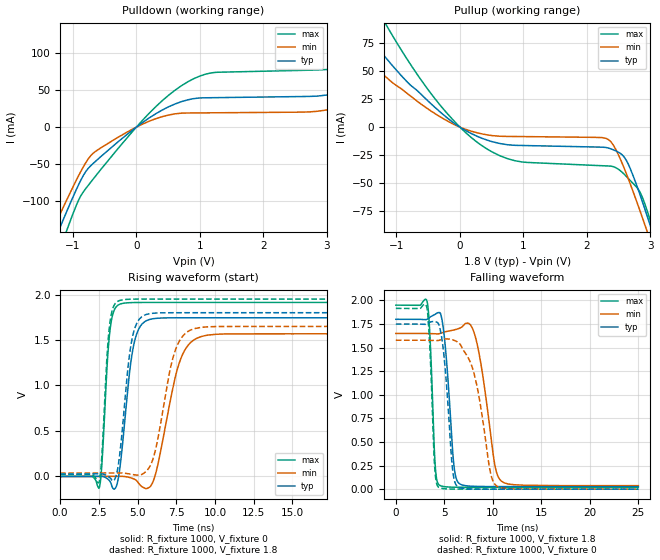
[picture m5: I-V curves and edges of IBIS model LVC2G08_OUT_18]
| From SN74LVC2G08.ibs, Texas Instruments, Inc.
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[Model]   LVC2G08_OUT_18
Model_type  Output
Vref =   0
Rref =   1000
Cref =   30p
Vmeas =   0.9
| variable   typ   min   max
C_comp   9.37pF   6.72pF   16.17pF
| C_pullup   8.04pF   6.72pF   8.54pF
| C_pulldown   10.70pF   6.73pF   16.17pF
[Temperature Range]   40   100   -40
| Ambient temperature   25   85   -40
[Voltage range]   1.8   1.65   1.95
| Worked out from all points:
|   slope of the pulldown table from 0 to 0.27 V, typ, clamps not added: 16.6 ohm
|   slope of the pullup table from 0 to 0.27 V, typ, clamps not added: 33 ohm
|   rising waveform, R_fixture 1000, V_fixture 0: 20-80 % time 670ps typ, 1.18ns min, 390ps max; typ from 0 V to 1.74 V
|   falling waveform, R_fixture 1000, V_fixture 1.8: 20-80 % time 716ps typ, 1.28ns min, 430ps max; typ from 1.8 V to 0.027 V
|   rising waveform, R_fixture 1000, V_fixture 1.8: 20-80 % time 637ps typ, 1.08ns min, 380ps max; typ from 0.027 V to 1.8 V
|   falling waveform, R_fixture 1000, V_fixture 0: 20-80 % time 748ps typ, 1.56ns min, 437ps max; typ from 1.75 V to 0 V
[Pulldown]
| LVC2G08_OUT_18
|   Voltage   I(typ)   I(min)   I(max)
-5.5V     -1.024A    -932.8mA   -1.173A
-1.44V    -185.2mA   -162.4mA   -222.4mA
-1.105V   -116mA     -100.2mA   -142mA
-645mV    -46.52mA   -32.98mA   -66.62mA
805mV     36.94mA    19.18mA    61.21mA
3.215V    47.58mA    27.05mA    81.88mA
4.145V    78.53mA    21.52mA    125.4mA
4.31V     68.9mA     21.59mA    136.1mA
4.47V     45.47mA    21.68mA    146.3mA
4.7V      44.48mA    21.82mA    139.5mA
5.01V     44.71mA    22mA       83.15mA
11V       50.72mA    25.33mA    93.05mA
[Pullup]
| LVC2G08_OUT_18
|   Voltage   I(typ)   I(min)   I(max)
-5.5V     480.5mA    377.4mA    671.8mA
-2.005V   126.2mA    94.48mA    183.1mA
-1.51V    86.76mA    63.87mA    127.4mA
-1.17V    62.28mA    45.16mA    92.41mA
-295mV    12.8mA     8.704mA    18.54mA
430mV     -11.66mA   -6.936mA   -19.66mA
2.34V     -18.76mA   -11.2mA    -34.79mA
2.625V    -30.23mA   -42.31mA   -44.38mA
2.93V     -76.38mA   -90.38mA   -71.68mA
3.03V     -93.86mA   -107.1mA   -89.69mA
3.115V    -109.1mA   -121.5mA   -106mA
11V       -1.709A    -1.61A     -1.886A
[Ramp]
| LVC2G08_OUT_18
| variable   typ   min   max
dV/dt_r   1.13/7.11E-10   1.02/1.25E-09   1.23/4.17E-10
dV/dt_f   1.11/7.57E-10   1.03/1.40E-09   1.20/4.56E-10
R_load = 1000
[Rising Waveform]
| LVC2G08_OUT_18
R_fixture =   1000
C_fixture =   0
L_fixture =   0
V_fixture =   0
V_fixture_min = 0
V_fixture_max = 0
|   Time   V(typ)   V(min)   V(max)
0s        112.7pV    7.663nV    2.84nV
2.535ns   1.95mV     28.25uV    -119.9mV
3.2ns     -49.59mV   1.248mV    1.576V
3.845ns   76.3mV     1.529mV    1.893V
4.695ns   1.395V     -22.84mV   1.911V
5.6ns     1.715V     -132.8mV   1.913V
6.205ns   1.738V     53.98mV    1.913V
7.68ns    1.744V     1.241V     1.913V
8.795ns   1.744V     1.517V     1.913V
24.99ns   1.744V     1.569V     1.913V
[Falling Waveform]
| LVC2G08_OUT_18
R_fixture =   1000
C_fixture =   0
L_fixture =   0
V_fixture =   1.8
V_fixture_min = 1.65
V_fixture_max = 1.95
|   Time   V(typ)   V(min)   V(max)
0s        1.8V       1.65V      1.95V
3.24ns    1.802V     1.649V     1.98V
4.05ns    1.853V     1.647V     264.6mV
4.485ns   1.871V     1.648V     43.21mV
5.085ns   1.528V     1.667V     25.78mV
5.995ns   246mV      1.687V     20.82mV
6.51ns    61.99mV    1.703V     20.19mV
8.195ns   29.75mV    1.615V     19.76mV
10.87ns   27.17mV    85.36mV    19.73mV
24.99ns   26.98mV    37.16mV    19.72mV
[Rising Waveform]
| LVC2G08_OUT_18
R_fixture =   1000
C_fixture =   0
L_fixture =   0
V_fixture =   1.8
V_fixture_min = 1.65
V_fixture_max = 1.95
|   Time   V(typ)   V(min)   V(max)
0s        26.95mV    37.1mV     19.71mV
2.515ns   28.74mV    37.1mV     -63.33mV
3.17ns    -7.939mV   38.19mV    1.626V
3.77ns    140.1mV    38.09mV    1.929V
4.59ns    1.461V     23.72mV    1.948V
5.43ns    1.772V     39.2mV     1.95V
6.12ns    1.796V     266.4mV    1.95V
7.38ns    1.8V       1.357V     1.95V
8.395ns   1.8V       1.607V     1.95V
24.99ns   1.8V       1.65V      1.95V
[Falling Waveform]
| LVC2G08_OUT_18
R_fixture =   1000
C_fixture =   0
L_fixture =   0
V_fixture =   0
V_fixture_min = 0
V_fixture_max = 0
|   Time   V(typ)   V(min)   V(max)
0s        1.749V     1.578V     1.916V
3.175ns   1.749V     1.577V     1.933V
4.005ns   1.775V     1.576V     233.2mV
4.41ns    1.749V     1.576V     20.39mV
5.01ns    1.364V     1.591V     4.793mV
5.845ns   211.7mV    1.582V     906.1uV
6.335ns   29.12mV    1.561V     385.9uV
8.05ns    1.461mV    1.23V      41.21uV
10.37ns   140uV      34.72mV    19.04uV
24.99ns   22.45uV    45.55uV    12.98uV
